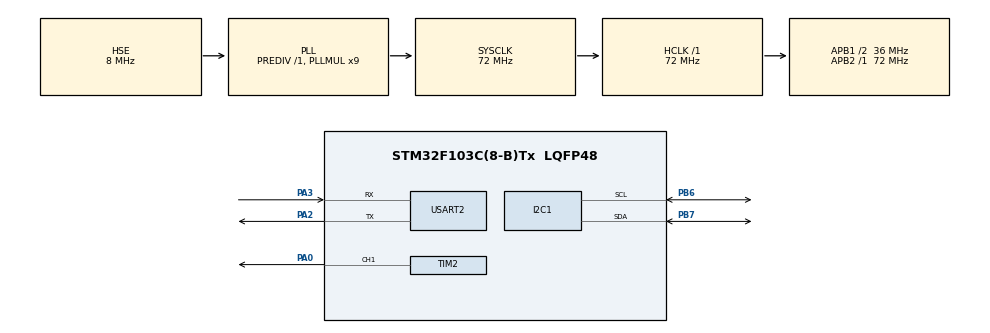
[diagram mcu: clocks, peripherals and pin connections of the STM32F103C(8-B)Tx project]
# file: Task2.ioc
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Dma.Request0=USART2_RX
Dma.Request1=USART2_TX
Dma.USART2_RX.0.Direction=DMA_PERIPH_TO_MEMORY
Dma.USART2_RX.0.Instance=DMA1_Channel6
Dma.USART2_RX.0.MemDataAlignment=DMA_MDATAALIGN_BYTE
Dma.USART2_RX.0.MemInc=DMA_MINC_ENABLE
Dma.USART2_RX.0.Mode=DMA_NORMAL
Dma.USART2_RX.0.PeriphDataAlignment=DMA_PDATAALIGN_BYTE
Dma.USART2_RX.0.PeriphInc=DMA_PINC_DISABLE
Dma.USART2_RX.0.Priority=DMA_PRIORITY_LOW
Dma.USART2_TX.1.Direction=DMA_MEMORY_TO_PERIPH
Dma.USART2_TX.1.Instance=DMA1_Channel7
Dma.USART2_TX.1.MemDataAlignment=DMA_MDATAALIGN_BYTE
Dma.USART2_TX.1.MemInc=DMA_MINC_ENABLE
Dma.USART2_TX.1.Mode=DMA_NORMAL
Dma.USART2_TX.1.PeriphDataAlignment=DMA_PDATAALIGN_BYTE
Dma.USART2_TX.1.PeriphInc=DMA_PINC_DISABLE
Dma.USART2_TX.1.Priority=DMA_PRIORITY_LOW
Mcu.Family=STM32F1
Mcu.Name=STM32F103C(8-B)Tx
Mcu.Package=LQFP48
NVIC.DMA1_Channel6_IRQn=true\:0\:0\:false\:false\:true\:false\:true\:true
NVIC.DMA1_Channel7_IRQn=true\:0\:0\:false\:false\:true\:false\:true\:true
NVIC.PriorityGroup=NVIC_PRIORITYGROUP_4
NVIC.USART2_IRQn=true\:0\:0\:false\:false\:true\:false\:true\:true
PA0-WKUP.Signal=S_TIM2_CH1_ETR
PA13.Mode=Serial_Wire
PA13.Signal=SYS_JTMS-SWDIO
PA14.Mode=Serial_Wire
PA14.Signal=SYS_JTCK-SWCLK
PA2.Mode=Asynchronous
PA2.Signal=USART2_TX
PA3.Mode=Asynchronous
PA3.Signal=USART2_RX
PB6.Mode=I2C
PB6.Signal=I2C1_SCL
PB7.Mode=I2C
PB7.Signal=I2C1_SDA
PD0-OSC_IN.Mode=HSE-External-Oscillator
PD0-OSC_IN.Signal=RCC_OSC_IN
PD1-OSC_OUT.Mode=HSE-External-Oscillator
PD1-OSC_OUT.Signal=RCC_OSC_OUT
ProjectManager.HeapSize=0x200
ProjectManager.StackSize=0x400
ProjectManager.TargetToolchain=MDK-ARM V5.32
RCC.AHBFreq_Value=72000000
RCC.APB1CLKDivider=RCC_HCLK_DIV2
RCC.APB1Freq_Value=36000000
RCC.APB1TimFreq_Value=72000000
RCC.APB2Freq_Value=72000000
RCC.APB2TimFreq_Value=72000000
RCC.HCLKFreq_Value=72000000
RCC.PLLMUL=RCC_PLL_MUL9
RCC.PLLSourceVirtual=RCC_PLLSOURCE_HSE
RCC.SYSCLKFreq_VALUE=72000000
RCC.SYSCLKSource=RCC_SYSCLKSOURCE_PLLCLK
RCC.USBFreq_Value=72000000
SH.S_TIM2_CH1_ETR.0=TIM2_CH1,PWM Generation1 CH1
TIM2.AutoReloadPreload=TIM_AUTORELOAD_PRELOAD_ENABLE
TIM2.Channel-PWM\ Generation1\ CH1=TIM_CHANNEL_1
TIM2.Period=143
TIM2.Prescaler=9999
USART2.VirtualMode=VM_ASYNC
VP_TIM2_VS_ClockSourceINT.Mode=Internal
board=custom

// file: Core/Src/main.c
/* USER CODE BEGIN Header */
/**
  ******************************************************************************
  * @file           : main.c
  * @brief          : Main program body
  ******************************************************************************
  * @attention
  *
  * Copyright (c) 2025 STMicroelectronics.
  * All rights reserved.
  *
  * This software is licensed under terms that can be found in the LICENSE file
  * in the root directory of this software component.
  * If no LICENSE file comes with this software, it is provided AS-IS.
  *
  ******************************************************************************
  */
/* USER CODE END Header */
#include "main.h"
#include "dma.h"
#include "i2c.h"
#include "tim.h"
#include "usart.h"
#include "gpio.h"
#include "OLED_IIC_Config.h"
#include "OLED_Function.h"
#include "OLED_Front.h"

/* USER CODE BEGIN Includes */
#include<cstdio>
#define LENGTH 200
/* USER CODE END Includes */

void SystemClock_Config(void);

/* USER CODE BEGIN 0 */
uint16_t Duty=0,Step=28,Peri=143;
uint8_t RxBuffer[LENGTH],Reccount=0;
/* USER CODE END 0 */

int main(void)
{

  /* MCU Configuration--------------------------------------------------------*/

  /* Reset of all peripherals, Initializes the Flash interface and the Systick. */
  HAL_Init();

  /* Configure the system clock */
  SystemClock_Config();

  /* Initialize all configured peripherals */
  MX_GPIO_Init();
  MX_DMA_Init();
  MX_USART2_UART_Init();
  MX_TIM2_Init();
  MX_I2C1_Init();
  /* USER CODE BEGIN 2 */
    HAL_TIM_PWM_Start(&htim2,TIM_CHANNEL_1);
    __HAL_UART_ENABLE_IT(&huart2,UART_IT_IDLE);
    HAL_UART_Receive_DMA(&huart2,RxBuffer,LENGTH);
    printf("更改PWM频率\r\n");
    printf("请输入PWM频率，如50Hz\r\n");
    OLED_Init();
    OLED_ShowChinese(0,16,0);
    OLED_ShowChinese(16,16,1);
    OLED_ShowChinese(32,16,2);
    OLED_HorizontalShift(0,3,RIGHT);
  /* USER CODE END 2 */

  /* Infinite loop */
  while (1)
  {

    /* USER CODE BEGIN 3 */
    //printf("Here\r\n");
     //HAL_Delay(500);
      for(Duty=0;Duty<=Peri;Duty=Duty+Step){
        HAL_Delay((uint32_t)7200/(Peri+1));
          __HAL_TIM_SET_COMPARE(&htim2,TIM_CHANNEL_1,Duty);
      }
  }
  /* USER CODE END 3 */
}

void SystemClock_Config(void)
{
  RCC_OscInitTypeDef RCC_OscInitStruct = {0};
  RCC_ClkInitTypeDef RCC_ClkInitStruct = {0};

  /** Initializes the RCC Oscillators according to the specified parameters
  * in the RCC_OscInitTypeDef structure.
  */
  RCC_OscInitStruct.OscillatorType = RCC_OSCILLATORTYPE_HSE;
  RCC_OscInitStruct.HSEState = RCC_HSE_ON;
  RCC_OscInitStruct.HSEPredivValue = RCC_HSE_PREDIV_DIV1;
  RCC_OscInitStruct.HSIState = RCC_HSI_ON;
  RCC_OscInitStruct.PLL.PLLState = RCC_PLL_ON;
  RCC_OscInitStruct.PLL.PLLSource = RCC_PLLSOURCE_HSE;
  RCC_OscInitStruct.PLL.PLLMUL = RCC_PLL_MUL9;
  if (HAL_RCC_OscConfig(&RCC_OscInitStruct) != HAL_OK)
  {
    Error_Handler();
  }

  /** Initializes the CPU, AHB and APB buses clocks
  */
  RCC_ClkInitStruct.ClockType = RCC_CLOCKTYPE_HCLK|RCC_CLOCKTYPE_SYSCLK
                              |RCC_CLOCKTYPE_PCLK1|RCC_CLOCKTYPE_PCLK2;
  RCC_ClkInitStruct.SYSCLKSource = RCC_SYSCLKSOURCE_PLLCLK;
  RCC_ClkInitStruct.AHBCLKDivider = RCC_SYSCLK_DIV1;
  RCC_ClkInitStruct.APB1CLKDivider = RCC_HCLK_DIV2;
  RCC_ClkInitStruct.APB2CLKDivider = RCC_HCLK_DIV1;

  if (HAL_RCC_ClockConfig(&RCC_ClkInitStruct, FLASH_LATENCY_2) != HAL_OK)
  {
    Error_Handler();
  }
}

/* USER CODE BEGIN 4 */
int fputc(int ch,FILE *f){
    HAL_UART_Transmit(&huart2,(uint8_t *)&ch,1,0xffff);
    return ch;
}
void HAL_UART_RxCpltCallback(UART_HandleTypeDef *huart)
{
        Reccount=LENGTH-__HAL_DMA_GET_COUNTER(&hdma_usart2_rx);
        uint16_t Amm=0;
        for(uint8_t i=0;i<Reccount;i++){
            if(RxBuffer[i]<'0'||RxBuffer[i]>'9')break;
            Amm=Amm*10+(uint16_t)(RxBuffer[i]-'0');
        }
        HAL_UART_Receive_DMA(&huart2,RxBuffer,LENGTH);
        if(Amm==0){
            printf("输入错误，请重新输入\n");
        }
        else{
            Peri=(uint16_t)7200/Amm;
            Peri--;
            __HAL_TIM_SET_AUTORELOAD(&htim2,Peri);
            Step=(Peri+1)/5;
        }
}
/* USER CODE END 4 */

void Error_Handler(void)
{
  __disable_irq();
  while (1)
  {
  }
}
